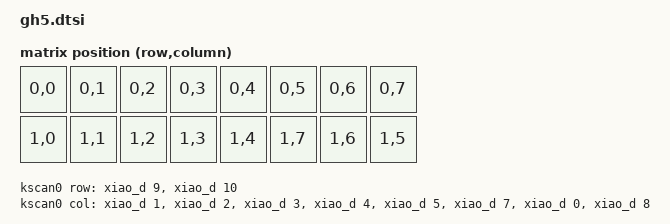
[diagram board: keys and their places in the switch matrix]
/*
 * Copyright (c) 2020 The ZMK Contributors
 *
 * SPDX-License-Identifier: MIT
 */

#include <dt-bindings/zmk/matrix_transform.h>

/ {

	chosen {
		zmk,kscan = &kscan0;
		zmk,matrix_transform = &default_transform;
	};

	default_transform: keymap_transform_0 {
		compatible = "zmk,matrix-transform";
		columns = <8>;
		rows = <2>;
		map = <
		RC(0,0)  RC(0,1)  RC(0,2)  RC(0,3)  RC(0,4) RC(0,5)  RC(0,6)  RC(0,7)
		RC(1,0)  RC(1,1)  RC(1,2)  RC(1,3)  RC(1,4) RC(1,7)  RC(1,6)  RC(1,5)
		>;
	};

	kscan0: kscan_buttons {
		compatible = "zmk,kscan-gpio-matrix";
		label = "BUTTONS";
		poll-period-ms = <1>;
		col-gpios
		= <&xiao_d  1 (GPIO_ACTIVE_HIGH | GPIO_PULL_DOWN)>
		, <&xiao_d  2 (GPIO_ACTIVE_HIGH | GPIO_PULL_DOWN)>
		, <&xiao_d  3 (GPIO_ACTIVE_HIGH | GPIO_PULL_DOWN)>
		, <&xiao_d  4 (GPIO_ACTIVE_HIGH | GPIO_PULL_DOWN)>
		, <&xiao_d  5 (GPIO_ACTIVE_HIGH | GPIO_PULL_DOWN)>
		, <&xiao_d  7 (GPIO_ACTIVE_HIGH | GPIO_PULL_DOWN)>
		, <&xiao_d  0 (GPIO_ACTIVE_HIGH | GPIO_PULL_DOWN)>
		, <&xiao_d  8 (GPIO_ACTIVE_HIGH | GPIO_PULL_DOWN)>
		;
		row-gpios
		= <&xiao_d  9 (GPIO_ACTIVE_HIGH)>
		, <&xiao_d 10 (GPIO_ACTIVE_HIGH)>
		;
	};
};
